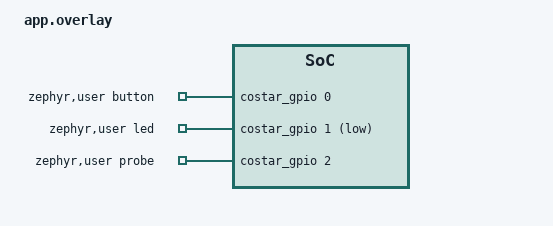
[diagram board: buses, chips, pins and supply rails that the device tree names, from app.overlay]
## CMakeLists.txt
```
cmake_minimum_required(VERSION 3.20.0)
find_package(Zephyr REQUIRED HINTS $ENV{ZEPHYR_BASE})
project(zephyr_gpio)

target_sources(app PRIVATE src/main.c)
```

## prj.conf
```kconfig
CONFIG_SYS_CLOCK_TICKS_PER_SEC=1000
CONFIG_BOOT_BANNER=n
CONFIG_GPIO=y
CONFIG_GPIO_ENABLE_DISABLE_INTERRUPT=y
```

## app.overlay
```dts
/* A button, an active-low LED and a probe pin on a costar GPIO port (ports/zephyr/module). */
/ {
	costar_gpio: costar-gpio {
		compatible = "costar,gpio";
		costar-device = "gpio";
		irq = <6>;
		gpio-controller;
		#gpio-cells = <2>;
	};

	zephyr,user {
		button-gpios = <&costar_gpio 0 GPIO_ACTIVE_HIGH>;
		led-gpios = <&costar_gpio 1 GPIO_ACTIVE_LOW>;
		probe-gpios = <&costar_gpio 2 GPIO_ACTIVE_HIGH>;
	};
};
```

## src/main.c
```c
/*
 * Button and LED — an ordinary Zephyr application that uses Zephyr's GPIO API
 * on a costar device (see app.overlay).  Each press of the button (a rising
 * edge on its pin) toggles the LED, which is active low.
 *
 * Meanwhile main() puts a third pin, the probe, through interrupt
 * configuration changes while the scenario toggles it, and logs each edge
 * the probe's callback sees.
 */
#include <zephyr/drivers/gpio.h>
#include <zephyr/kernel.h>
#include <zephyr/sys/printk.h>

static const struct gpio_dt_spec button = GPIO_DT_SPEC_GET(DT_PATH(zephyr_user), button_gpios);
static const struct gpio_dt_spec led = GPIO_DT_SPEC_GET(DT_PATH(zephyr_user), led_gpios);
static const struct gpio_dt_spec probe = GPIO_DT_SPEC_GET(DT_PATH(zephyr_user), probe_gpios);

static struct gpio_callback pressed_callback;
static struct gpio_callback probe_callback;
K_SEM_DEFINE(pressed, 0, 10);

static void on_press(const struct device *port, struct gpio_callback *callback, gpio_port_pins_t pins)
{
	ARG_UNUSED(port);
	ARG_UNUSED(callback);
	ARG_UNUSED(pins);
	k_sem_give(&pressed);
}

static void on_probe(const struct device *port, struct gpio_callback *callback, gpio_port_pins_t pins)
{
	ARG_UNUSED(port);
	ARG_UNUSED(callback);
	ARG_UNUSED(pins);
	printk("probe edge at %u ms\n", k_uptime_get_32());
}

static void buttons(void *a, void *b, void *c)
{
	ARG_UNUSED(a);
	ARG_UNUSED(b);
	ARG_UNUSED(c);
	for (;;) {
		k_sem_take(&pressed, K_FOREVER);
		gpio_pin_toggle_dt(&led);
		printk("pressed at %u ms: button %d, led %d\n", k_uptime_get_32(), gpio_pin_get_dt(&button),
		       gpio_pin_get_dt(&led));
	}
}

K_THREAD_DEFINE(buttons_thread, 1024, buttons, NULL, NULL, NULL, 5, 0, 0);

static void at_ms(uint32_t ms, const char *what)
{
	k_sleep(K_TIMEOUT_ABS_MS(ms));
	printk("%s\n", what);
}

int main(void)
{
	if (!gpio_is_ready_dt(&button) || !gpio_is_ready_dt(&led)) {
		printk("gpio not ready\n");
		return 1;
	}
	gpio_pin_configure_dt(&led, GPIO_OUTPUT_INACTIVE);
	gpio_pin_configure_dt(&button, GPIO_INPUT);
	printk("level-triggered: %d\n", gpio_pin_interrupt_configure_dt(&button, GPIO_INT_LEVEL_ACTIVE));
	gpio_pin_interrupt_configure_dt(&button, GPIO_INT_EDGE_TO_ACTIVE);
	gpio_init_callback(&pressed_callback, on_press, BIT(button.pin));
	gpio_add_callback_dt(&button, &pressed_callback);

	gpio_pin_configure_dt(&probe, GPIO_INPUT);
	gpio_init_callback(&probe_callback, on_probe, BIT(probe.pin));
	gpio_add_callback_dt(&probe, &probe_callback);
	/* The probe rises at 6.5 ms, with interrupts locked and its own disabled.
	 * Enabling it then doesn't report that earlier edge.
	 */
	k_sleep(K_TIMEOUT_ABS_MS(6));
	unsigned int key = irq_lock();

	k_busy_wait(1000);
	gpio_pin_interrupt_configure_dt(&probe, GPIO_INT_EDGE_RISING);
	irq_unlock(key);
	printk("probe interrupt on at %u us\n", k_cyc_to_us_floor32(k_cycle_get_32()));
	/* Rises again at 9 ms: seen. */
	at_ms(10, "probe interrupt disabled only");
	gpio_pin_interrupt_configure_dt(&probe, GPIO_INT_MODE_DISABLE_ONLY);
	/* Rises at 12 ms: not seen. */
	at_ms(13, "probe interrupt enabled only");
	gpio_pin_interrupt_configure_dt(&probe, GPIO_INT_MODE_ENABLE_ONLY);
	/* Rises at 15 ms: seen, still for rising edges only. */
	at_ms(16, "probe disconnected");
	gpio_pin_configure_dt(&probe, GPIO_DISCONNECTED);
	/* Rises at 18 ms: not seen, and reads 0. */
	k_sleep(K_TIMEOUT_ABS_MS(19));
	printk("probe reads %d\n", gpio_pin_get_dt(&probe));
	/* An input again, for rising edges.  It falls at 20 ms and rises at
	 * 21.5 ms with interrupts locked; enabling-only its interrupt then
	 * keeps that pending edge.
	 */
	gpio_pin_configure_dt(&probe, GPIO_INPUT);
	gpio_pin_interrupt_configure_dt(&probe, GPIO_INT_EDGE_RISING);
	k_sleep(K_TIMEOUT_ABS_MS(21));
	key = irq_lock();
	k_busy_wait(1000);
	gpio_pin_interrupt_configure_dt(&probe, GPIO_INT_MODE_ENABLE_ONLY);
	irq_unlock(key);
	return 0;
}
```
